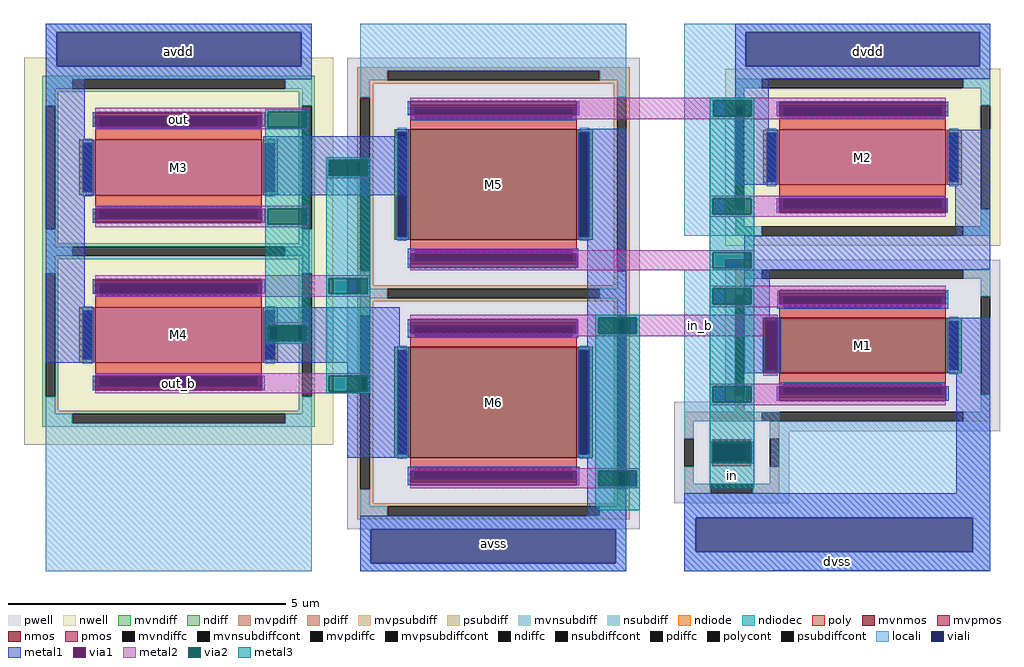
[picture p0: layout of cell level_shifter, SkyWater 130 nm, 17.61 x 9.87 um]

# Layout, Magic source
magic
tech sky130A
magscale 1 2
<< locali >>
rect 1183 -370 2143 -340
rect 1183 -493 1223 -370
rect 2106 -493 2143 -370
rect 1183 -539 2143 -493
rect 2319 -509 3279 -340
rect 3488 -369 4591 -340
rect 3488 -492 3709 -369
rect 4554 -492 4591 -369
rect 3488 -538 4591 -492
rect 3488 -1104 3671 -538
rect 3487 -1740 3671 -1226
rect 1183 -2314 2143 -1781
rect 3804 -2034 4591 -1774
rect 2319 -2163 3279 -2115
rect 2319 -2286 2357 -2163
rect 3240 -2286 3279 -2163
rect 2319 -2314 3279 -2286
rect 3487 -2121 4591 -2034
rect 3487 -2244 3529 -2121
rect 4529 -2244 4591 -2121
rect 3487 -2314 4591 -2244
<< viali >>
rect 1223 -493 2106 -370
rect 3709 -492 4554 -369
rect 2357 -2286 3240 -2163
rect 3529 -2244 4529 -2121
<< metal1 >>
rect 1183 -370 2143 -340
rect 1183 -493 1223 -370
rect 2106 -493 2143 -370
rect 1183 -539 2143 -493
rect 3671 -369 4591 -340
rect 3671 -492 3709 -369
rect 4554 -492 4591 -369
rect 3671 -538 4591 -492
rect 1183 -758 1325 -539
rect 1353 -710 1363 -658
rect 1963 -710 1973 -658
rect 2489 -670 2499 -618
rect 3099 -670 3109 -618
rect 1183 -959 1357 -758
rect 1969 -830 2494 -746
rect 1969 -887 2205 -830
rect 2345 -887 2494 -830
rect 1969 -958 2494 -887
rect 1183 -1362 1325 -959
rect 1353 -1058 1363 -1006
rect 1963 -1058 1973 -1006
rect 2489 -1167 2505 -1151
rect 3095 -1167 3105 -1151
rect 2489 -1219 2499 -1167
rect 3099 -1219 3105 -1167
rect 1353 -1314 1363 -1262
rect 1963 -1314 1973 -1262
rect 1183 -1562 1357 -1362
rect 1969 -1427 2461 -1362
rect 1969 -1484 1985 -1427
rect 2125 -1484 2461 -1427
rect 2489 -1457 2499 -1405
rect 3099 -1457 3105 -1405
rect 2489 -1473 2504 -1457
rect 3095 -1473 3105 -1457
rect 1969 -1562 2461 -1484
rect 2462 -1562 2493 -1505
rect 1353 -1662 1363 -1610
rect 1963 -1662 1973 -1610
rect 2271 -1905 2493 -1562
rect 2489 -1953 3109 -1937
rect 2489 -2005 2499 -1953
rect 3099 -2005 3109 -1953
rect 3137 -2115 3279 -718
rect 3671 -721 3793 -538
rect 3821 -673 3831 -621
rect 4431 -673 4441 -621
rect 3671 -921 3825 -721
rect 4437 -921 4591 -721
rect 3821 -1021 3831 -969
rect 4431 -1021 4438 -969
rect 4466 -1104 4591 -921
rect 3705 -1225 4591 -1104
rect 3705 -1226 4557 -1225
rect 3705 -1400 3796 -1226
rect 3824 -1352 3830 -1300
rect 4431 -1352 4441 -1300
rect 3824 -1368 4441 -1352
rect 3705 -1599 3773 -1400
rect 3825 -1599 3835 -1400
rect 3705 -1600 3824 -1599
rect 4437 -1600 4591 -1400
rect 3821 -1700 3831 -1648
rect 4432 -1700 4442 -1648
rect 3579 -1926 3589 -1848
rect 3729 -1926 3739 -1848
rect 4470 -2034 4591 -1600
rect 2319 -2163 3279 -2115
rect 2319 -2286 2357 -2163
rect 3240 -2286 3279 -2163
rect 2319 -2314 3279 -2286
rect 3487 -2121 4591 -2034
rect 3487 -2244 3529 -2121
rect 4529 -2244 4591 -2121
rect 3487 -2313 4591 -2244
rect 3487 -2314 3804 -2313
<< via1 >>
rect 1363 -710 1963 -658
rect 2499 -670 3099 -618
rect 2205 -887 2345 -830
rect 1363 -1058 1963 -1006
rect 2499 -1219 3099 -1167
rect 1363 -1314 1963 -1262
rect 1985 -1484 2125 -1427
rect 2499 -1457 3099 -1405
rect 1363 -1662 1963 -1610
rect 2499 -2005 3099 -1953
rect 3831 -673 4431 -621
rect 3831 -1021 4431 -969
rect 3830 -1352 4431 -1300
rect 3773 -1599 3825 -1400
rect 3831 -1700 4432 -1648
rect 3589 -1926 3729 -1848
<< metal2 >>
rect 2499 -616 4431 -606
rect 2499 -618 3592 -616
rect 1363 -657 2135 -643
rect 1363 -658 1985 -657
rect 1963 -710 1985 -658
rect 1363 -714 1985 -710
rect 2125 -714 2135 -657
rect 3099 -670 3592 -618
rect 2499 -673 3592 -670
rect 3732 -621 4431 -616
rect 3732 -673 3831 -621
rect 2499 -683 4431 -673
rect 1363 -720 2135 -714
rect 2195 -830 2355 -820
rect 2195 -887 2205 -830
rect 2345 -887 2355 -830
rect 2195 -897 2355 -887
rect 3580 -969 4431 -959
rect 1363 -1006 2135 -996
rect 1963 -1058 1985 -1006
rect 1363 -1063 1985 -1058
rect 2125 -1063 2135 -1006
rect 3580 -1026 3590 -969
rect 3730 -1021 3831 -969
rect 3730 -1026 4431 -1021
rect 3580 -1036 4431 -1026
rect 1363 -1068 2135 -1063
rect 1363 -1073 2125 -1068
rect 2499 -1164 3740 -1157
rect 2499 -1167 3590 -1164
rect 3099 -1219 3590 -1167
rect 2499 -1221 3590 -1219
rect 3730 -1221 3740 -1164
rect 2499 -1229 3740 -1221
rect 1363 -1257 2355 -1247
rect 1363 -1262 2205 -1257
rect 1963 -1314 2205 -1262
rect 2345 -1314 2355 -1257
rect 1363 -1324 2355 -1314
rect 3580 -1294 4431 -1285
rect 3580 -1351 3590 -1294
rect 3730 -1300 4431 -1294
rect 3730 -1351 3830 -1300
rect 3580 -1352 3830 -1351
rect 3580 -1362 4431 -1352
rect 2499 -1400 3825 -1390
rect 2499 -1405 3177 -1400
rect 1975 -1427 2135 -1417
rect 1975 -1484 1985 -1427
rect 2125 -1484 2135 -1427
rect 3099 -1457 3177 -1405
rect 3317 -1457 3773 -1400
rect 2499 -1467 3773 -1457
rect 1975 -1494 2135 -1484
rect 1363 -1610 2355 -1600
rect 3773 -1609 3825 -1599
rect 1963 -1662 2205 -1610
rect 1363 -1667 2205 -1662
rect 2345 -1667 2355 -1610
rect 1363 -1672 2355 -1667
rect 3580 -1648 4432 -1638
rect 3580 -1705 3590 -1648
rect 3730 -1700 3831 -1648
rect 3730 -1705 4432 -1700
rect 3580 -1715 4432 -1705
rect 3589 -1848 3729 -1838
rect 3589 -1936 3729 -1926
rect 2499 -1952 3327 -1943
rect 2499 -1953 3177 -1952
rect 3099 -2005 3177 -1953
rect 2499 -2009 3177 -2005
rect 3317 -2009 3327 -1952
rect 2499 -2015 3327 -2009
<< via2 >>
rect 1985 -714 2125 -657
rect 3592 -673 3732 -616
rect 2205 -887 2345 -830
rect 1985 -1063 2125 -1006
rect 3590 -1026 3730 -969
rect 3590 -1221 3730 -1164
rect 2205 -1314 2345 -1257
rect 3590 -1351 3730 -1294
rect 1985 -1484 2125 -1427
rect 3177 -1457 3317 -1400
rect 2205 -1667 2345 -1610
rect 3590 -1705 3730 -1648
rect 3589 -1926 3729 -1848
rect 3177 -2009 3317 -1952
<< metal3 >>
rect 3580 -616 3741 -606
rect 1975 -657 2135 -648
rect 1975 -714 1985 -657
rect 2125 -714 2135 -657
rect 1975 -1006 2135 -714
rect 3580 -673 3592 -616
rect 3732 -673 3741 -616
rect 1975 -1063 1985 -1006
rect 2125 -1063 2135 -1006
rect 1975 -1427 2135 -1063
rect 1975 -1484 1985 -1427
rect 2125 -1484 2135 -1427
rect 1975 -1494 2135 -1484
rect 2195 -830 2355 -820
rect 2195 -887 2205 -830
rect 2345 -887 2355 -830
rect 2195 -1257 2355 -887
rect 2195 -1314 2205 -1257
rect 2345 -1314 2355 -1257
rect 2195 -1610 2355 -1314
rect 3580 -969 3741 -673
rect 3580 -1026 3590 -969
rect 3730 -1026 3741 -969
rect 3580 -1164 3741 -1026
rect 3580 -1221 3590 -1164
rect 3730 -1221 3741 -1164
rect 3580 -1294 3741 -1221
rect 3580 -1351 3590 -1294
rect 3730 -1351 3741 -1294
rect 2195 -1667 2205 -1610
rect 2345 -1667 2355 -1610
rect 2195 -1672 2355 -1667
rect 3167 -1400 3327 -1390
rect 3167 -1457 3177 -1400
rect 3317 -1457 3327 -1400
rect 3167 -1952 3327 -1457
rect 3580 -1648 3741 -1351
rect 3580 -1705 3590 -1648
rect 3730 -1705 3741 -1648
rect 3580 -1843 3741 -1705
rect 3579 -1848 3741 -1843
rect 3579 -1926 3589 -1848
rect 3729 -1926 3741 -1848
rect 3579 -1931 3741 -1926
rect 3167 -2009 3177 -1952
rect 3317 -2009 3327 -1952
rect 3167 -2094 3327 -2009
rect 3580 -2015 3741 -1931
use sky130_fd_pr__diode_pw2nd_05v5_37RBXE  sky130_fd_pr__diode_pw2nd_05v5_37RBXE_0
transform 0 1 3659 -1 0 -1887
box -183 -208 183 208
use sky130_fd_pr__nfet_01v8_MG6U6H  sky130_fd_pr__nfet_01v8_MG6U6H_0
transform 1 0 4131 0 1 -1500
box -496 -310 496 310
use sky130_fd_pr__nfet_g5v0d10v5_EEVBR7  sky130_fd_pr__nfet_g5v0d10v5_EEVBR7_0
transform -1 0 2799 0 1 -1705
box -528 -458 528 458
use sky130_fd_pr__nfet_g5v0d10v5_EEVBR7  sky130_fd_pr__nfet_g5v0d10v5_EEVBR7_1
transform -1 0 2799 0 1 -919
box -528 -458 528 458
use sky130_fd_pr__pfet_01v8_J2L9Q3  sky130_fd_pr__pfet_01v8_J2L9Q3_0
transform 1 0 4131 0 1 -821
box -496 -319 496 319
use sky130_fd_pr__pfet_g5v0d10v5_YHAZV5  sky130_fd_pr__pfet_g5v0d10v5_YHAZV5_0
transform 1 0 1663 0 -1 -1462
box -558 -397 558 397
use sky130_fd_pr__pfet_g5v0d10v5_YHAZV5  sky130_fd_pr__pfet_g5v0d10v5_YHAZV5_1
transform 1 0 1663 0 -1 -858
box -558 -397 558 397
<< labels >>
flabel space 1105 -1255 2221 -461 0 FreeSans 1600 0 0 0 M3
flabel space 2271 -1377 3327 -461 0 FreeSans 1600 0 0 0 M5
flabel space 2271 -2163 3327 -1247 0 FreeSans 1600 0 0 0 M6
flabel metal1 1183 -539 2143 -340 0 FreeSans 1600 0 0 0 avdd
port 1 nsew
flabel metal2 1363 -1662 1963 -1610 0 FreeSans 800 0 0 0 out_b
port 2 nsew
flabel metal2 1363 -710 1963 -658 0 FreeSans 800 0 0 0 out
port 3 nsew
flabel space 1105 -1859 2221 -1065 0 FreeSans 1600 0 0 0 M4
flabel metal1 3671 -538 4631 -340 0 FreeSans 1600 0 0 0 dvdd
port 5 nsew
flabel metal3 3580 -2015 3741 -1926 0 FreeSans 1600 0 0 0 in
port 6 nsew
flabel metal2 3317 -1467 3773 -1390 0 FreeSans 800 0 0 0 in_b
flabel metal1 2319 -2314 3279 -2115 0 FreeSans 1600 0 0 0 avss
port 4 nsew
flabel space 3635 -1810 4627 -1190 0 FreeSans 1600 0 0 0 M1
flabel space 3635 -1140 4627 -502 0 FreeSans 1600 0 0 0 M2
flabel metal1 3487 -2313 4591 -2244 0 FreeSans 1600 0 0 0 dvss
port 7 nsew
<< end >>

# cell sky130_fd_pr__diode_pw2nd_05v5_37RBXE: kit device sky130_fd_pr__diode_pw2nd_05v5, w 0.45 l 0.7 area 315.0m peri 2.3 nx 1 ny 1 dummy 0 lmin 0.45 wmin 0.45 elc 0 erc 1 etc 1 ebc 1 doverlap 0 compatible {sky130_fd_pr__diode_pw2nd_05v5 sky130_fd_pr__diode_pw2nd_05v5_lvt sky130_fd_pr__diode_pw2nd_05v5_nvt sky130_fd_pr__diode_pw2nd_11v0} full_metal 1 vias 1 viagb 0 viagt 0 viagl 0 viagr 0

# cell sky130_fd_pr__nfet_01v8_MG6U6H: kit device sky130_fd_pr__nfet_01v8, w 1 l 3 m 1 nf 1 diffcov 100 polycov 100 guard 1 glc 1 grc 1 gtc 1 gbc 1 tbcov 100 rlcov 100 topc 1 botc 1 poverlap 0 doverlap 1 lmin 0.15 wmin 0.42 compatible {sky130_fd_pr__nfet_01v8 sky130_fd_pr__nfet_01v8_lvt sky130_fd_bs_flash__special_sonosfet_star sky130_fd_pr__nfet_g5v0d10v5 sky130_fd_pr__nfet_05v0_nvt sky130_fd_pr__nfet_03v3_nvt} full_metal 1 viasrc 100 viadrn 100 viagate 100 viagb 0 viagr 0 viagl 0 viagt 0

# cell sky130_fd_pr__nfet_g5v0d10v5_EEVBR7: kit device sky130_fd_pr__nfet_g5v0d10v5, w 2.0 l 3.0 m 1 nf 1 diffcov 100 polycov 100 guard 1 glc 1 grc 1 gtc 1 gbc 1 tbcov 100 rlcov 100 topc 1 botc 1 poverlap 0 doverlap 1 lmin 0.50 wmin 0.42 compatible {sky130_fd_pr__nfet_01v8 sky130_fd_pr__nfet_01v8_lvt sky130_fd_bs_flash__special_sonosfet_star sky130_fd_pr__nfet_g5v0d10v5 sky130_fd_pr__nfet_05v0_nvt sky130_fd_pr__nfet_03v3_nvt} full_metal 1 viasrc 100 viadrn 100 viagate 100 viagb 0 viagr 0 viagl 0 viagt 0

# cell sky130_fd_pr__pfet_01v8_J2L9Q3: kit device sky130_fd_pr__pfet_01v8, w 1 l 3 m 1 nf 1 diffcov 100 polycov 100 guard 1 glc 1 grc 1 gtc 1 gbc 1 tbcov 100 rlcov 100 topc 1 botc 1 poverlap 0 doverlap 1 lmin 0.15 wmin 0.42 compatible {sky130_fd_pr__pfet_01v8 sky130_fd_pr__pfet_01v8_lvt sky130_fd_pr__pfet_01v8_hvt sky130_fd_pr__pfet_g5v0d10v5} full_metal 1 viasrc 100 viadrn 100 viagate 100 viagb 0 viagr 0 viagl 0 viagt 0

# cell sky130_fd_pr__pfet_g5v0d10v5_YHAZV5: kit device sky130_fd_pr__pfet_g5v0d10v5, w 1.0 l 3.0 m 1 nf 1 diffcov 100 polycov 100 guard 1 glc 1 grc 1 gtc 1 gbc 1 tbcov 100 rlcov 100 topc 1 botc 1 poverlap 0 doverlap 1 lmin 0.50 wmin 0.42 compatible {sky130_fd_pr__pfet_01v8 sky130_fd_pr__pfet_01v8_lvt sky130_fd_pr__pfet_01v8_hvt sky130_fd_pr__pfet_g5v0d10v5} full_metal 1 viasrc 100 viadrn 100 viagate 100 viagb 0 viagr 0 viagl 0 viagt 0
